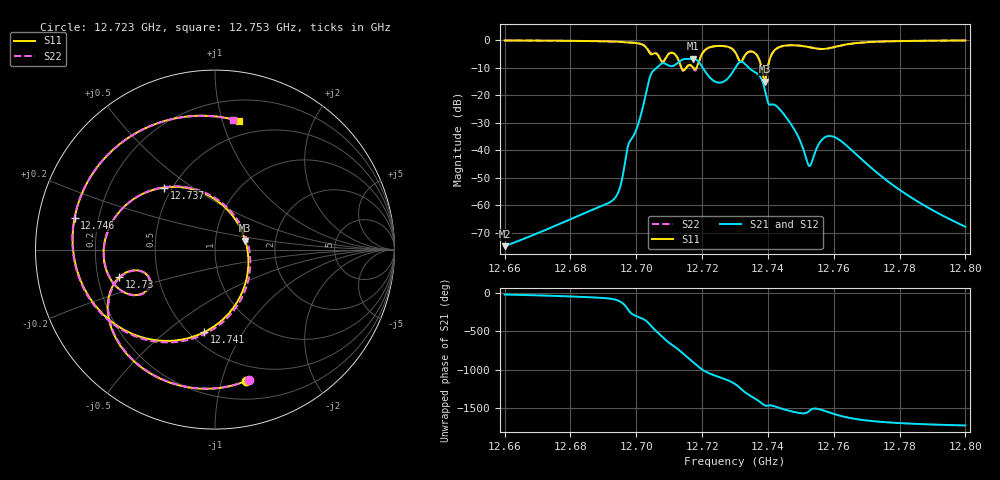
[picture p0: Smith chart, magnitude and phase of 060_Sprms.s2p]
! TOUCHSTONE file generated by CST MICROWAVE STUDIO
! Date and time: Wed Jul 31 13:43:13 2024
! Project name: WaveGuide_BPF-Ver4.1_U-shape_Ku_T3_C4_CWA_2.cst
! Parameters = {cavity_h=16; cavity_l0=10; cavity_l1=15.2175; cavity_l2=16.8119; cavity_l3=17.1241; cavity_l4=17.2758; cavity_l5=17.17; cavity_l6=17.6395; cavity_r=2.5; cavity_screw_l=0.5; cavity_screw_r=1.5; cavity_w=8; iris_h00=0; iris_h01=8.8023; iris_h112=0; iris_h12=5.5895; iris_h211=3.6592; ir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
! Header version: 2018
! Port assignment regex: !\s*Touchstone port\s*([0-9]+)\s*=\s*(CST MWS port|CST DS port)\s*([0-9]+|Zmin|Zmax)\s*\(\"(.*)\"\)(\s*mode\s*([0-9]+))?.*
! Touchstone port assignment:
! Touchstone port 1 = CST MWS port 1 ("")
! Touchstone port 2 = CST MWS port 2 ("")
# GHz S RI R 50
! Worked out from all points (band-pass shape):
!   5001 points, 12.66 GHz to 12.8 GHz, reference 50 ohm
!   highest |S21| = -6.81 dB at 12.717 GHz (marker M1); lowest = -74.8 dB at 12.66 GHz (marker M2)
!   |S21| within 3 dB of the highest: 12.70647 GHz to 12.72008 GHz (13.61 MHz wide, 0.107 % of centre); 12.73021 GHz to 12.73396 GHz (3.746 MHz wide, 0.0294 % of centre)
!   lowest |S11| = -15.1 dB at 12.739 GHz (marker M3), VSWR 1.43, Z = 69.9 + j7.28 ohm
!   |S11| at or under -10 dB: 12.7137 GHz to 12.71516 GHz (1.461 MHz wide, 0.0115 % of centre); 12.71729 GHz to 12.7183 GHz (1.004 MHz wide, 0.00789 % of centre); 12.73806 GHz to 12.73992 GHz (1.869 MHz wide, 0.0147 % of centre)
!   |S22| runs from -14.6 to -0.2 dB; largest |S21 - S12| = 1e-09
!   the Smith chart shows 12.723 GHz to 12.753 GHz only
!   S11 on the Smith chart (normalised r, x): 12.723 GHz: 0.36, -1.20; 12.73 GHz: 0.29, -0.13; 12.737 GHz: 0.45, +0.39; 12.741 GHz: 0.59, -0.69; 12.746 GHz: 0.11, +0.11; 12.753 GHz: 0.37, +1.13
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12.66  0.3094 0.9313  0.000169 -6.85e-05  0.000169 -6.85e-05  0.3102 0.9312
12.68335  0.7144 0.6433  0.000421 -0.000543  0.000421 -0.000543  0.7136 0.6446
12.69419  0.9005 0.2395  -0.00014 -0.00156  -0.00014 -0.00156  0.9 0.2445
12.70382  0.4939 -0.3609  0.1478 -0.1066  0.1478 -0.1066  0.5235 -0.3648
12.70668  0.3972 -0.3377  -0.3134 -0.1107  -0.3134 -0.1107  0.4005 -0.3488
12.70928  0.4612 -0.2103  -0.031 0.359  -0.031 0.359  0.4599 -0.2272
12.71267  0.1828 -0.4174  0.3783 -0.078  0.3783 -0.078  0.1684 -0.4192
12.71488  0.2042 -0.218  -0.0338 -0.4513  -0.0338 -0.4513  0.1968 -0.2151
12.71715  0.1958 -0.2579  -0.4547 -0.0393  -0.4547 -0.0393  0.1815 -0.2517
12.72278  0.1733 -0.7314  0.1792 0.0814  0.1792 0.0814  0.1875 -0.725
12.73  -0.5718 -0.2059  -0.0687 -0.3002  -0.0687 -0.3002  -0.569 -0.209
12.73039  -0.5327 -0.1534  -0.1403 -0.3057  -0.1403 -0.3057  -0.5301 -0.1559
12.73731  -0.2841 0.3458  0.1932 0.1246  0.1932 0.1246  -0.2838 0.3481
12.73902  0.1688 0.0505  0.1213 -0.0431  0.1213 -0.0431  0.1756 0.0619
12.74064  -0.0614 -0.4609  0.0629 -0.0232  0.0629 -0.0232  -0.0371 -0.4597
12.7463  -0.7819 0.1776  0.000589 -0.0343  0.000589 -0.0343  -0.7875 0.1523
12.75313  0.1336 0.7169  0.00154 -0.00546  0.00154 -0.00546  0.0997 0.7248
12.75335  0.179 0.7024  0.00221 -0.00575  0.00221 -0.00575  0.1454 0.7124
12.75764  0.692 -0.0692  -0.00239 -0.0174  -0.00239 -0.0174  0.6914 -0.0358
12.76265  0.1128 -0.799  -0.0135 -0.00407  -0.0135 -0.00407  0.1296 -0.7928
12.77668  -0.8803 -0.3476  -0.00126 0.00236  -0.00126 0.00236  -0.8794 -0.3491
12.8  -0.9462 0.254  7.99e-05 0.000403  7.99e-05 0.000403  -0.9459 0.2553
